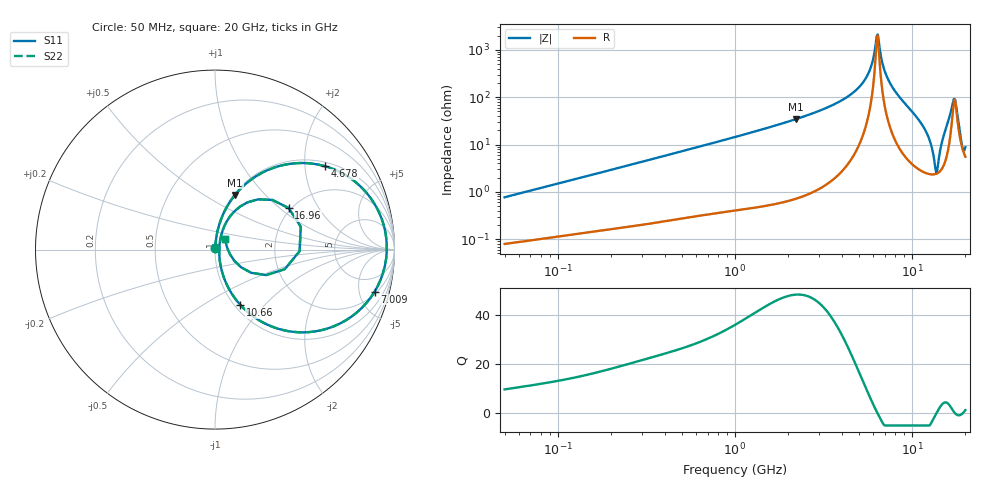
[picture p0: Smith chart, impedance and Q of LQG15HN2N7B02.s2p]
!Murata Part Number: LQG15HN2N7B02
!These Parameters are Measured in Series Mode Connection
!  o--[Z]--o
!Port1  Port2
!  o-------o
!Freq. Start=50[MHz] Stop=20[GHz], 401[Steps]
# Hz S RI R 50
!Freq.(Hz) S11(Real) S11(Imag) S21(Real) S21(Imag) S12(Real) S12(Imag) S22(Real) S22(Imag)
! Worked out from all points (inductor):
!   401 points, 50 MHz to 20 GHz, reference 50 ohm
!   read as one part in series: L = 2.42 nH near 51.52 MHz
!   highest Q = 48.1 at 2.212 GHz (marker M1), where L = 2.48 nH
!   self-resonance near 6.312 GHz
!   S11 on the Smith chart (normalised r, x): 50 MHz: 1.00, +0.02; 4.678 GHz: 1.12, +2.55; 7.009 GHz: 2.29, -6.97; 10.66 GHz: 1.06, -0.74; 16.96 GHz: 1.94, +1.15; 20 GHz: 1.11, +0.14
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5e7  0.000854 0.00765  0.9991 -0.00765  0.9991 -0.00765  0.000854 0.00765
1.364002e8  0.00174 0.0201  0.9983 -0.0201  0.9983 -0.0201  0.00174 0.0201
3.721004e8  0.00515 0.0533  0.9949 -0.0533  0.9949 -0.0533  0.00515 0.0533
1e9  0.0241 0.1402  0.9759 -0.1402  0.9759 -0.1402  0.0241 0.1402
2.211938e9  0.1114 0.3044  0.8886 -0.3044  0.8886 -0.3044  0.1114 0.3044
2.728004e9  0.1751 0.3695  0.8249 -0.3695  0.8249 -0.3695  0.1751 0.3695
3.680849e9  0.3488 0.4631  0.6512 -0.4631  0.6512 -0.4631  0.3488 0.4631
4.677679e9  0.6141 0.4642  0.3859 -0.4642  0.3859 -0.4642  0.6141 0.4642
5.683258e9  0.8867 0.2582  0.1133 -0.2582  0.1133 -0.2582  0.8867 0.2582
6.311513e9  0.9571 0.0245  0.0429 -0.0245  0.0429 -0.0245  0.9571 0.0245
6.503449e9  0.9533 -0.0516  0.0467 0.0516  0.0467 0.0516  0.9533 -0.0516
7.009217e9  0.8891 -0.2346  0.1109 0.2346  0.1109 0.2346  0.8891 -0.2346
7.442007e9  0.7885 -0.3516  0.2115 0.3516  0.2115 0.3516  0.7885 -0.3516
8.644534e9  0.4651 -0.4605  0.5349 0.4605  0.5349 0.4605  0.4651 -0.4605
1.066139e10  0.1409 -0.3076  0.8591 0.3076  0.8591 0.3076  0.1409 -0.3076
1.220001e10  0.0475 -0.1502  0.9525 0.1502  0.9525 0.1502  0.0475 -0.1502
1.375312e10  0.0237 0.00168  0.9763 -0.00168  0.9763 -0.00168  0.0237 0.00168
1.573793e10  0.1063 0.2114  0.8937 -0.2114  0.8937 -0.2114  0.1063 0.2114
1.696185e10  0.4103 0.2317  0.5897 -0.2317  0.5897 -0.2317  0.4103 0.2317
1.800918e10  0.2852 -0.1421  0.7148 0.1421  0.7148 0.1421  0.2852 -0.1421
1.912117e10  0.0838 -0.0265  0.9162 0.0265  0.9162 0.0265  0.0838 -0.0265
2e10  0.0565 0.0612  0.9435 -0.0612  0.9435 -0.0612  0.0565 0.0612
